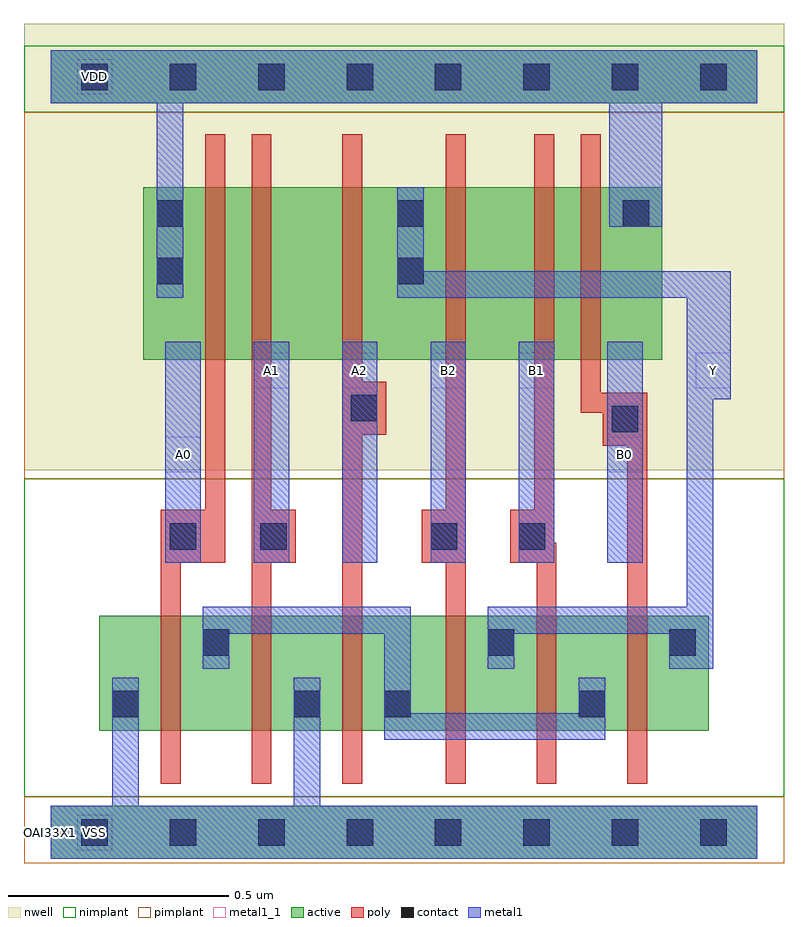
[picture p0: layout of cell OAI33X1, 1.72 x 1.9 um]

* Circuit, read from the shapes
.subckt OAI33X1 A0 A1 A2 B0 B1 B2 VDD VSS Y
M1 n1 A0 VSS VSS nfet w=0.26u l=0.045u
M2 VSS A1 n1 VSS nfet w=0.26u l=0.045u
M3 n1 A2 VSS VSS nfet w=0.26u l=0.045u
M4 Y B2 n1 VSS nfet w=0.26u l=0.045u
M5 n1 B1 Y VSS nfet w=0.26u l=0.045u
M6 Y B0 n1 VSS nfet w=0.26u l=0.045u
M7 n2 A0 VDD VDD pfet w=0.39u l=0.045u
M8 n3 A1 n2 VDD pfet w=0.39u l=0.045u
M9 Y A2 n3 VDD pfet w=0.39u l=0.045u
M10 n4 B2 Y VDD pfet w=0.39u l=0.045u
M11 n5 B1 n4 VDD pfet w=0.39u l=0.045u
M12 VDD B0 n5 VDD pfet w=0.39u l=0.045u
.ends

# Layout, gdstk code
import gdstk
lib = gdstk.Library(unit=1e-6, precision=5e-10)
def R(c, l, rs):  # rectangles x0, y0, x1, y1
    for r in rs: c.add(gdstk.rectangle(r[:2], r[2:], *l))
def A(c, l, x, y, w, h, nx, ny, dx, dy):  # array of equal rectangles
    R(c, l, [(x+i*dx, y+j*dy, x+i*dx+w, y+j*dy+h) for i in range(nx) for j in range(ny)])
def P(c, l, *ps):  # polygons
    for p in ps: c.add(gdstk.Polygon(p, *l))
active = (1, 0)
nwell = (2, 0)
poly = (3, 0)
nimplant = (4, 0)
pimplant = (5, 0)
contact = (6, 0)
metal1 = (7, 0)
metal1_1 = (7, 1)

oai33x1 = lib.new_cell('OAI33X1')
R(oai33x1, active, [(0,-0.06,1.6,0.06), (0.11,0.23,1.49,0.49), (0.21,1.07,1.385,1.46), (0,1.65,1.6,1.77)])
R(oai33x1, nwell, [(-0.06,0.82,1.66,1.83)])
P(oai33x1, poly, [(0.35,1.58),(0.395,1.58),(0.395,0.61),(0.295,0.61),(0.295,0.11),(0.25,0.11),(0.25,0.73),(0.35,0.73)],
  [(0.455,1.58),(0.5,1.58),(0.5,0.73),(0.555,0.73),(0.555,0.61),(0.5,0.61),(0.5,0.11),(0.455,0.11)],
  [(0.66,1.58),(0.705,1.58),(0.705,1.02),(0.76,1.02),(0.76,0.9),(0.705,0.9),(0.705,0.11),(0.66,0.11)],
  [(0.895,1.58),(0.94,1.58),(0.94,0.11),(0.895,0.11),(0.895,0.61),(0.84,0.61),(0.84,0.73),(0.895,0.73)],
  [(1.095,1.58),(1.14,1.58),(1.14,0.655),(1.145,0.655),(1.145,0.11),(1.1,0.11),(1.1,0.61),(1.04,0.61),(1.04,0.73),(1.095,0.73)],
  [(1.2,1.58),(1.245,1.58),(1.245,0.995),(1.35,0.995),(1.35,0.11),(1.305,0.11),(1.305,0.875),(1.25,0.875),(1.25,0.95),(1.2,0.95)])
R(oai33x1, nimplant, [(-0.06,0.08,1.66,0.8), (-0.06,1.63,1.66,1.78)])
R(oai33x1, pimplant, [(-0.06,-0.07,1.66,0.08), (-0.06,0.8,1.66,1.63)])
A(oai33x1, contact, 0.07, -0.03, 0.06, 0.06, 8, 2, 0.2, 1.71)
R(oai33x1, contact, [(0.14,0.26,0.2,0.32), (0.55,0.26,0.61,0.32), (0.755,0.26,0.815,0.32), (1.195,0.26,1.255,0.32), (0.345,0.4,0.405,0.46), (0.99,0.4,1.05,0.46), (1.4,0.4,1.46,0.46), (0.27,0.64,0.33,0.7), (0.475,0.64,0.535,0.7), (0.86,0.64,0.92,0.7), (1.06,0.64,1.12,0.7), (1.27,0.905,1.33,0.965), (0.68,0.93,0.74,0.99), (0.24,1.24,0.3,1.3), (0.785,1.24,0.845,1.3), (0.24,1.37,0.3,1.43), (0.785,1.37,0.845,1.43), (1.295,1.37,1.355,1.43)])
A(oai33x1, metal1, 0.26, 0.61, 0.08, 0.5, 6, 1, 0.2, 0)
P(oai33x1, metal1, [(0,1.77),(1.6,1.77),(1.6,1.65),(1.385,1.65),(1.385,1.37),(1.265,1.37),(1.265,1.65),(0.3,1.65),(0.3,1.21),(0.24,1.21),(0.24,1.65),(0,1.65)],
  [(0.785,1.46),(0.845,1.46),(0.845,1.27),(1.54,1.27),(1.54,0.98),(1.5,0.98),(1.5,0.37),(1.4,0.37),(1.4,0.45),(1.05,0.45),(1.05,0.37),(0.99,0.37),(0.99,0.51),(1.44,0.51),(1.44,1.21),(0.785,1.21)],
  [(0.345,0.51),(0.815,0.51),(0.815,0.27),(1.195,0.27),(1.195,0.35),(1.255,0.35),(1.255,0.21),(0.755,0.21),(0.755,0.45),(0.405,0.45),(0.405,0.37),(0.345,0.37)],
  [(0.14,0.35),(0.2,0.35),(0.2,0.06),(0.55,0.06),(0.55,0.35),(0.61,0.35),(0.61,0.06),(1.6,0.06),(1.6,-0.06),(0,-0.06),(0,0.06),(0.14,0.06)])
A(oai33x1, metal1_1, 0.46, 1.005, 0.08, 0.08, 4, 1, 0.2, 0)
R(oai33x1, metal1_1, [(0.06,-0.04,0.14,0.04), (0.26,0.815,0.34,0.895), (1.26,0.815,1.34,0.895), (1.46,1.005,1.54,1.085), (0.06,1.67,0.14,1.75)])
oai33x1.add(gdstk.Label('Y', (1.5,1.045), layer=7, texttype=1))
oai33x1.add(gdstk.Label('A1', (0.5,1.045), layer=7, texttype=1))
oai33x1.add(gdstk.Label('B2', (0.9,1.045), layer=7, texttype=1))
oai33x1.add(gdstk.Label('A0', (0.3,0.855), layer=7, texttype=1))
oai33x1.add(gdstk.Label('A2', (0.7,1.045), layer=7, texttype=1))
oai33x1.add(gdstk.Label('B1', (1.1,1.045), layer=7, texttype=1))
oai33x1.add(gdstk.Label('B0', (1.3,0.855), layer=7, texttype=1))
oai33x1.add(gdstk.Label('VDD', (0.1,1.71), layer=7, texttype=1))
oai33x1.add(gdstk.Label('VSS', (0.1,0), layer=7, texttype=1))
oai33x1.add(gdstk.Label('OAI33X1', (0,0), layer=63, texttype=0))

lib.write_gds('OAI33X1.gds')
